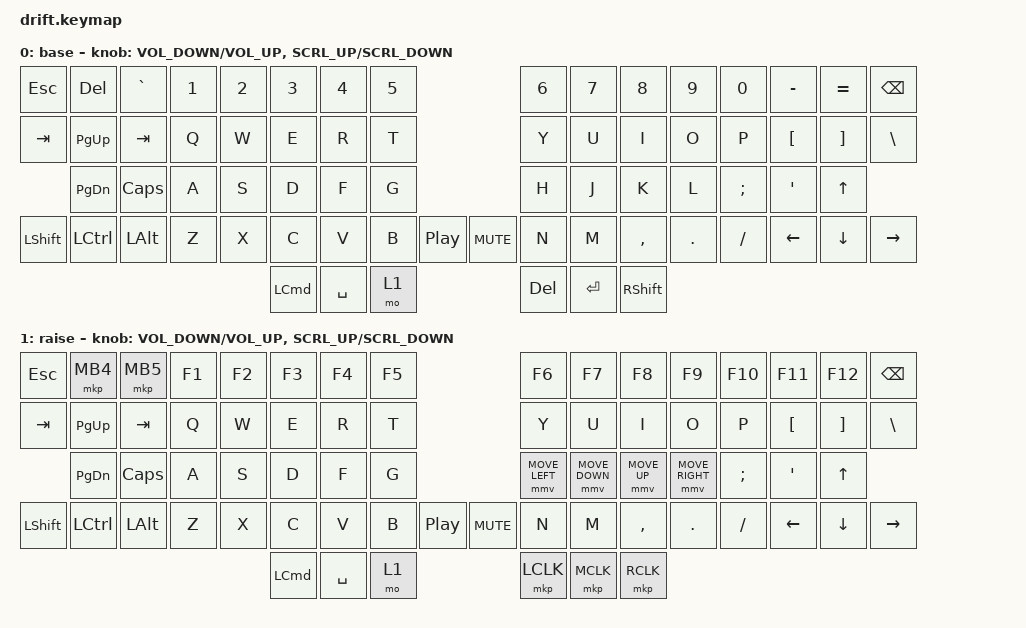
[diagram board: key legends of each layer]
// Copyright (c) 2025 Timception
// SPDX-License-Identifier: MIT

#define ZMK_POINTING_DEFAULT_MOVE_VAL 1500  // default: 600
#define ZMK_POINTING_DEFAULT_SCRL_VAL 120    // default: 10 - for encoder mouse-scroll to work

#include <dt-bindings/zmk/mouse.h>
#include <behaviors.dtsi>
#include <dt-bindings/zmk/keys.h>
#include <dt-bindings/zmk/pointing.h>

#define BASE 0
#define LOWER 1
#define RAISE 2
#define ADJUST 3

/ {
    conditional_layers {
        compatible = "zmk,conditional-layers";

        tri_layer {
            if-layers = <1 1>;
            then-layer = <3>;
        };
    };

    behaviors {
        enc_scroll: enc_scroll {
            compatible = "zmk,behavior-sensor-rotate-var";
            #sensor-binding-cells = <2>;
            bindings = <&msc>, <&msc>;

            tap-ms = <20>;
        };
    };

    keymap {
        compatible = "zmk,keymap";

        default_layer {
            display-name = "base";

            // ------------------------------------------------------------------------------------------------------------------------------------------
            // | ESC   | ESC    |   `   |  1  |  2  |   3   |   4   |   5   |                   |   6   |   7   |   8   |  9  |  0  |  -  |  =  | BKSPC |
            // | COPY  | SCRCAP | TAB   |  Q  |  W  |   E   |   R   |   T   |                   |   Y   |   U   |   I   |  O  |  P  |  [  |  ]  |   \   |
            //         | GUI    | CAPS  |  A  |  S  |   D   |   F   |   G   |                   |   H   |   J   |   K   |  L  |  ;  |  '  |ENTER|
            // | PASTE | CTRL   | SHIFT |  Z  |  X  |   C   |   V   |   B   |  MUTE  | |  MUTE  |   N   |   M   |   ,   |  .  |  /  | ALT |CTRL |  DEL  |
            //                                      | SHIFT | SPACE | LOWER |                   | RAISE | SPACE | BKSPC |

            bindings = <
&kp ESC         &kp DELETE     &kp GRAVE  &kp N1  &kp N2  &kp N3            &kp N4     &kp N5                                &kp N6   &kp N7     &kp N8           &kp N9   &kp N0    &kp MINUS       &kp EQUAL       &kp BSPC
&kp TAB         &kp PAGE_UP    &kp TAB    &kp Q   &kp W   &kp E             &kp R      &kp T                                 &kp Y    &kp U      &kp I            &kp O    &kp P     &kp LBKT        &kp RBKT        &kp BSLH
                &kp PAGE_DOWN  &kp CAPS   &kp A   &kp S   &kp D             &kp F      &kp G                                 &kp H    &kp J      &kp K            &kp L    &kp SEMI  &kp SQT         &kp UP_ARROW
&kp LEFT_SHIFT  &kp LCTRL      &kp LALT   &kp Z   &kp X   &kp C             &kp V      &kp B   &kp C_PLAY_PAUSE  &kp C_MUTE  &kp N    &kp M      &kp COMMA        &kp DOT  &kp FSLH  &kp LEFT_ARROW  &kp DOWN_ARROW  &kp RIGHT_ARROW
                                                          &kp LEFT_COMMAND  &kp SPACE  &mo 1                                 &kp DEL  &kp ENTER  &kp RIGHT_SHIFT
            >;

            sensor-bindings =
                <&inc_dec_kp C_VOLUME_DOWN C_VOLUME_UP>,
                <&enc_scroll SCRL_UP SCRL_DOWN>;
        };

        raise_layer {
            display-name = "raise";
            bindings = <
&kp ESC         &mkp MB4       &mkp MB5  &kp F1  &kp F2  &kp F3            &kp F4     &kp F5                                &kp F6          &kp F7          &kp F8        &kp F9           &kp F10   &kp F11         &kp F12         &kp BSPC
&kp TAB         &kp PAGE_UP    &kp TAB   &kp Q   &kp W   &kp E             &kp R      &kp T                                 &kp Y           &kp U           &kp I         &kp O            &kp P     &kp LBKT        &kp RBKT        &kp BSLH
                &kp PAGE_DOWN  &kp CAPS  &kp A   &kp S   &kp D             &kp F      &kp G                                 &mmv MOVE_LEFT  &mmv MOVE_DOWN  &mmv MOVE_UP  &mmv MOVE_RIGHT  &kp SEMI  &kp SQT         &kp UP_ARROW
&kp LEFT_SHIFT  &kp LCTRL      &kp LALT  &kp Z   &kp X   &kp C             &kp V      &kp B   &kp C_PLAY_PAUSE  &kp C_MUTE  &kp N           &kp M           &kp COMMA     &kp DOT          &kp FSLH  &kp LEFT_ARROW  &kp DOWN_ARROW  &kp RIGHT_ARROW
                                                         &kp LEFT_COMMAND  &kp SPACE  &mo 1                                 &mkp LCLK       &mkp MCLK       &mkp RCLK
            >;

            sensor-bindings =
                <&inc_dec_kp C_VOLUME_DOWN C_VOLUME_UP>,
                <&enc_scroll SCRL_UP SCRL_DOWN>;
        };
    };
};
